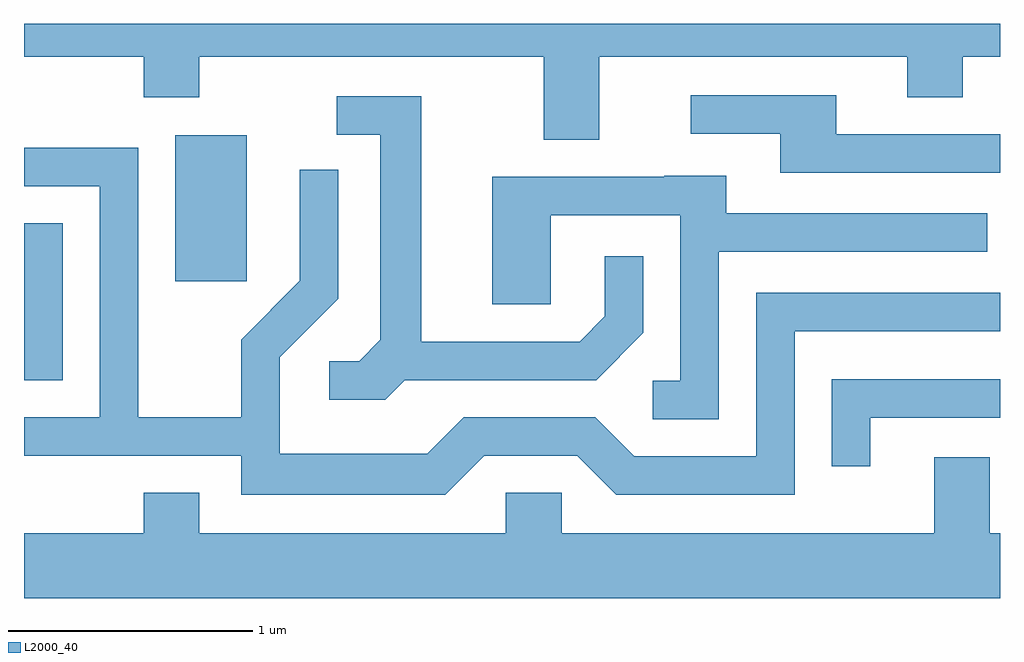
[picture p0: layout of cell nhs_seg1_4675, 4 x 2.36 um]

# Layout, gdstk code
import gdstk
lib = gdstk.Library(unit=1e-6, precision=1e-09)
def R(c, l, rs):  # rectangles x0, y0, x1, y1
    for r in rs: c.add(gdstk.rectangle(r[:2], r[2:], *l))
def P(c, l, *ps):  # polygons
    for p in ps: c.add(gdstk.Polygon(p, *l))
L2000_40 = (2000, 40)

nhs_seg1_4675 = lib.new_cell('nhs_seg1_4675')
R(nhs_seg1_4675, L2000_40, [(325.611,898.251,325.769,898.894), (326.231,898.656,326.524,899.254)])
P(nhs_seg1_4675, L2000_40, [(327.969,899.576),(329.231,899.576),(329.231,899.411),(329.459,899.411),(329.459,899.576),(329.611,899.576),(329.611,899.712),(325.611,899.712),(325.611,899.576),(326.101,899.576),(326.101,899.411),(326.329,899.411),(326.329,899.576),(327.741,899.576),(327.741,899.236),(327.969,899.236)],
  [(329.611,899.259),(328.939,899.259),(328.939,899.419),(328.343,899.419),(328.343,899.261),(328.711,899.261),(328.711,899.101),(329.611,899.101)],
  [(327.172,898.251),(327.957,898.251),(328.149,898.444),(328.149,898.758),(327.991,898.758),(327.991,898.512),(327.889,898.409),(327.239,898.409),(327.239,899.414),(326.893,899.414),(326.893,899.256),(327.071,899.256),(327.071,898.417),(326.984,898.329),(326.863,898.329),(326.863,898.171),(327.092,898.171)],
  [(327.497,897.941),(327.879,897.941),(328.039,897.781),(328.769,897.781),(328.769,898.451),(329.611,898.451),(329.611,898.609),(328.611,898.609),(328.611,897.939),(328.112,897.939),(327.952,898.099),(327.414,898.099),(327.264,897.949),(326.659,897.949),(326.659,898.344),(326.899,898.584),(326.899,899.113),(326.741,899.113),(326.741,898.657),(326.501,898.417),(326.501,898.099),(326.079,898.099),(326.079,899.204),(325.611,899.204),(325.611,899.046),(325.921,899.046),(325.921,898.099),(325.611,898.099),(325.611,897.941),(326.501,897.941),(326.501,897.781),(327.337,897.781)],
  [(328.459,898.776),(329.558,898.776),(329.558,898.934),(328.489,898.934),(328.489,899.089),(328.235,899.089),(328.235,899.084),(327.531,899.084),(327.531,898.561),(327.769,898.561),(327.769,898.926),(328.301,898.926),(328.301,898.249),(328.188,898.249),(328.188,898.091),(328.459,898.091)],
  [(329.079,898.096),(329.611,898.096),(329.611,898.254),(328.921,898.254),(328.921,897.898),(329.079,897.898)],
  [(329.611,897.624),(329.569,897.624),(329.569,897.934),(329.341,897.934),(329.341,897.624),(327.814,897.624),(327.814,897.789),(327.586,897.789),(327.586,897.624),(326.329,897.624),(326.329,897.789),(326.101,897.789),(326.101,897.624),(325.611,897.624),(325.611,897.356),(329.611,897.356)])

lib.write_gds('nhs_seg1_4675.gds')
